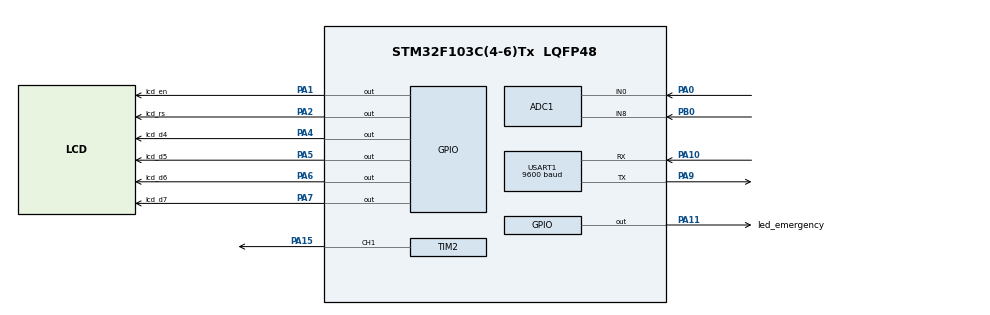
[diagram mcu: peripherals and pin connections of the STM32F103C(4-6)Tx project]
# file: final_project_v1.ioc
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ADC1.Channel-1\#ChannelRegularConversion=ADC_CHANNEL_0
ADC1.ContinuousConvMode=ENABLE
ADC1.NbrOfConversionFlag=1
ADC1.Rank-1\#ChannelRegularConversion=1
ADC1.SamplingTime-1\#ChannelRegularConversion=ADC_SAMPLETIME_1CYCLE_5
ADC1.master=1
Mcu.Family=STM32F1
Mcu.Name=STM32F103C(4-6)Tx
Mcu.Package=LQFP48
NVIC.PriorityGroup=NVIC_PRIORITYGROUP_4
PA0-WKUP.Signal=ADCx_IN0
PA1.GPIO_Label=lcd_en
PA1.Signal=GPIO_Output
PA10.Mode=Asynchronous
PA10.Signal=USART1_RX
PA11.GPIO_Label=led_emergency
PA11.Signal=GPIO_Output
PA13.Mode=Serial_Wire
PA13.Signal=SYS_JTMS-SWDIO
PA14.Mode=Serial_Wire
PA14.Signal=SYS_JTCK-SWCLK
PA15.Signal=S_TIM2_CH1_ETR
PA2.GPIO_Label=lcd_rs
PA2.Signal=GPIO_Output
PA4.GPIO_Label=lcd_d4
PA4.Signal=GPIO_Output
PA5.GPIO_Label=lcd_d5
PA5.Signal=GPIO_Output
PA6.GPIO_Label=lcd_d6
PA6.Signal=GPIO_Output
PA7.GPIO_Label=lcd_d7
PA7.Signal=GPIO_Output
PA9.Mode=Asynchronous
PA9.Signal=USART1_TX
PB0.Signal=ADCx_IN8
PD0-OSC_IN.Mode=HSE-External-Oscillator
PD0-OSC_IN.Signal=RCC_OSC_IN
PD1-OSC_OUT.Mode=HSE-External-Oscillator
PD1-OSC_OUT.Signal=RCC_OSC_OUT
ProjectManager.HeapSize=0x200
ProjectManager.StackSize=0x400
ProjectManager.TargetToolchain=MDK-ARM V5.32
RCC.APB1Freq_Value=8000000
RCC.APB2Freq_Value=8000000
SH.ADCx_IN0.0=ADC1_IN0,IN0
SH.ADCx_IN8.0=ADC1_IN8,IN8
SH.S_TIM2_CH1_ETR.0=TIM2_CH1,PWM Generation1 CH1
TIM2.Channel-PWM\ Generation1\ CH1=TIM_CHANNEL_1
USART1.BaudRate=9600
USART1.VirtualMode=VM_ASYNC
VP_TIM2_VS_ClockSourceINT.Mode=Internal
board=custom

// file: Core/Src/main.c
/* USER CODE BEGIN Header */
/**
  **************************
  * @file           : main.c
  * @brief          : Main program body
  **************************
  * @attention
  *
  * Copyright (c) 2023 STMicroelectronics.
  * All rights reserved.
  *
  * This software is licensed under terms that can be found in the LICENSE file
  * in the root directory of this software component.
  * If no LICENSE file comes with this software, it is provided AS-IS.
  *
  **************************
  */
/* USER CODE END Header */
#include "main.h"

/* USER CODE BEGIN Includes */
#include <stdio.h>
#include <string.h>
#include "LCD.h"
/* USER CODE END Includes */

ADC_HandleTypeDef hadc1;

TIM_HandleTypeDef htim2;

UART_HandleTypeDef huart1;

/* USER CODE BEGIN PV */
#define tres_char "Threshold: 27C "
uint8_t tres_mes[16];

float temperature;

const float threshold = 27.0; // Threshold temperature in Celsius
const float alarm_val = 50.0; // Alarm temperature in Celcuis

/* USER CODE END PV */

void SystemClock_Config(void);
static void MX_GPIO_Init(void);
static void MX_ADC1_Init(void);
static void MX_TIM2_Init(void);
static void MX_USART1_UART_Init(void);
/* USER CODE BEGIN PFP */

float get_temp(uint16_t adc_value);
void print_char(char *string);
void print_float(float value);
void print_newline(void);
/* USER CODE END PFP */

/* USER CODE BEGIN 0 */

void emergency(){ // lcd giden deger

}

// ADC_HandleTypeDef *hadc // NOT USED,  CAN BE REMOVED

void temp_emergency(ADC_HandleTypeDef *hadc){
	memcpy(tres_mes, tres_char, 16);
	HAL_UART_Transmit(&huart1,tres_mes,  16,HAL_MAX_DELAY);

	// Start ADC conversion
  HAL_ADC_Start(&hadc1);
	HAL_ADC_PollForConversion(&hadc1, HAL_MAX_DELAY);

  // Read ADC value
  uint16_t adcValue = HAL_ADC_GetValue(&hadc1);
	// Convert ADC reading to temperature
	temperature = get_temp(adcValue);

  // Update the LCD display
  char tempString[10];
	char lcd_str[30];
	sprintf(tempString, "%.0f C", temperature);
	sprintf(lcd_str, "Temperature: \n");
	lcd_print(1,1, lcd_str);
	lcd_print(2, 1, tempString);

	// Transmit temperature via UART
  char uartString[64];
  sprintf(uartString, "Temperature: %.0f C\r\n", temperature);
  HAL_UART_Transmit(&huart1, (uint8_t *)uartString, strlen(uartString), HAL_MAX_DELAY);

  // Check if temperature exceeds the threshold
  if (temperature > threshold && temperature < alarm_val)
		{
			HAL_UART_Transmit(&huart1, (uint8_t *)"Room temperature is high\r\n", 24, HAL_MAX_DELAY);
      HAL_GPIO_WritePin(GPIOB, led_emergency_Pin, GPIO_PIN_RESET);
		}
		// Check if temperature exceeds the alarm value
		else if (temperature >= alarm_val){
			HAL_UART_Transmit(&huart1, (uint8_t *)"FIRE ALARM!\r\n", 13, HAL_MAX_DELAY);
      HAL_GPIO_WritePin(GPIOB, led_emergency_Pin, GPIO_PIN_SET);
		}
		else{
			HAL_GPIO_WritePin(GPIOB, led_emergency_Pin, GPIO_PIN_RESET);
		}
		HAL_Delay(500); // Delay for 0.5 second between readings
		}

void led_emergency(ADC_HandleTypeDef *hadc, uint16_t AD_RES, uint16_t Vamb){
	HAL_TIM_PWM_Start(&htim2, TIM_CHANNEL_1);
  // Calibrate The ADC On Power-Up For Better Accuracy
  HAL_ADCEx_Calibration_Start(&hadc1);

  // Read The Sensor Once To Get The Ambient Level
  // & Calculate The DutyCycle Multiplier
  HAL_ADC_Start(&hadc1);
  HAL_ADC_PollForConversion(&hadc1, 1);
  Vamb = HAL_ADC_GetValue(&hadc1);
	HAL_ADC_Start(&hadc1);

	if(HAL_ADC_PollForConversion(&hadc1,100)==HAL_OK){
		AD_RES = HAL_ADC_GetValue(&hadc1);
		if(AD_RES>= 0x744){//1.5 volt
			HAL_GPIO_WritePin(GPIOA,led_emergency_Pin,GPIO_PIN_SET);
			HAL_Delay(50);
			HAL_GPIO_WritePin(GPIOA,led_emergency_Pin,GPIO_PIN_RESET);
		}
	}
	HAL_Delay(1);
	HAL_ADC_Stop(&hadc1);
}

/* USER CODE END 0 */

int main(void)
{

  /* MCU Configuration--------------------------------------------------------*/

  /* Reset of all peripherals, Initializes the Flash interface and the Systick. */
  HAL_Init();

  /* Configure the system clock */
  SystemClock_Config();

  /* Initialize all configured peripherals */
  MX_GPIO_Init();
  MX_ADC1_Init();
  MX_TIM2_Init();
  MX_USART1_UART_Init();
  /* USER CODE BEGIN 2 */
	lcd_init(_LCD_4BIT, _LCD_FONT_5x8, _LCD_2LINE); //initialize the LCD

  /* USER CODE END 2 */

  /* Infinite loop */
  /* USER CODE BEGIN WHILE */
  while (1)
  {
	temp_emergency(&hadc1);
    /* USER CODE END WHILE */

  }
}

void SystemClock_Config(void)
{
  RCC_OscInitTypeDef RCC_OscInitStruct = {0};
  RCC_ClkInitTypeDef RCC_ClkInitStruct = {0};
  RCC_PeriphCLKInitTypeDef PeriphClkInit = {0};

  /** Initializes the RCC Oscillators according to the specified parameters
  * in the RCC_OscInitTypeDef structure.
  */
  RCC_OscInitStruct.OscillatorType = RCC_OSCILLATORTYPE_HSI;
  RCC_OscInitStruct.HSIState = RCC_HSI_ON;
  RCC_OscInitStruct.HSICalibrationValue = RCC_HSICALIBRATION_DEFAULT;
  RCC_OscInitStruct.PLL.PLLState = RCC_PLL_NONE;
  if (HAL_RCC_OscConfig(&RCC_OscInitStruct) != HAL_OK)
  {
    Error_Handler();
  }

  /** Initializes the CPU, AHB and APB buses clocks
  */
  RCC_ClkInitStruct.ClockType = RCC_CLOCKTYPE_HCLK|RCC_CLOCKTYPE_SYSCLK
                              |RCC_CLOCKTYPE_PCLK1|RCC_CLOCKTYPE_PCLK2;
  RCC_ClkInitStruct.SYSCLKSource = RCC_SYSCLKSOURCE_HSI;
  RCC_ClkInitStruct.AHBCLKDivider = RCC_SYSCLK_DIV1;
  RCC_ClkInitStruct.APB1CLKDivider = RCC_HCLK_DIV1;
  RCC_ClkInitStruct.APB2CLKDivider = RCC_HCLK_DIV1;

  if (HAL_RCC_ClockConfig(&RCC_ClkInitStruct, FLASH_LATENCY_0) != HAL_OK)
  {
    Error_Handler();
  }
  PeriphClkInit.PeriphClockSelection = RCC_PERIPHCLK_ADC;
  PeriphClkInit.AdcClockSelection = RCC_ADCPCLK2_DIV2;
  if (HAL_RCCEx_PeriphCLKConfig(&PeriphClkInit) != HAL_OK)
  {
    Error_Handler();
  }
}

static void MX_ADC1_Init(void)
{

  ADC_ChannelConfTypeDef sConfig = {0};

  /** Common config
  */
  hadc1.Instance = ADC1;
  hadc1.Init.ScanConvMode = ADC_SCAN_DISABLE;
  hadc1.Init.ContinuousConvMode = ENABLE;
  hadc1.Init.DiscontinuousConvMode = DISABLE;
  hadc1.Init.ExternalTrigConv = ADC_SOFTWARE_START;
  hadc1.Init.DataAlign = ADC_DATAALIGN_RIGHT;
  hadc1.Init.NbrOfConversion = 1;
  if (HAL_ADC_Init(&hadc1) != HAL_OK)
  {
    Error_Handler();
  }

  /** Configure Regular Channel
  */
  sConfig.Channel = ADC_CHANNEL_0;
  sConfig.Rank = ADC_REGULAR_RANK_1;
  sConfig.SamplingTime = ADC_SAMPLETIME_1CYCLE_5;
  if (HAL_ADC_ConfigChannel(&hadc1, &sConfig) != HAL_OK)
  {
    Error_Handler();
  }

}

static void MX_TIM2_Init(void)
{

  TIM_ClockConfigTypeDef sClockSourceConfig = {0};
  TIM_MasterConfigTypeDef sMasterConfig = {0};
  TIM_OC_InitTypeDef sConfigOC = {0};

  htim2.Instance = TIM2;
  htim2.Init.Prescaler = 0;
  htim2.Init.CounterMode = TIM_COUNTERMODE_UP;
  htim2.Init.Period = 65535;
  htim2.Init.ClockDivision = TIM_CLOCKDIVISION_DIV1;
  htim2.Init.AutoReloadPreload = TIM_AUTORELOAD_PRELOAD_DISABLE;
  if (HAL_TIM_Base_Init(&htim2) != HAL_OK)
  {
    Error_Handler();
  }
  sClockSourceConfig.ClockSource = TIM_CLOCKSOURCE_INTERNAL;
  if (HAL_TIM_ConfigClockSource(&htim2, &sClockSourceConfig) != HAL_OK)
  {
    Error_Handler();
  }
  if (HAL_TIM_PWM_Init(&htim2) != HAL_OK)
  {
    Error_Handler();
  }
  sMasterConfig.MasterOutputTrigger = TIM_TRGO_RESET;
  sMasterConfig.MasterSlaveMode = TIM_MASTERSLAVEMODE_DISABLE;
  if (HAL_TIMEx_MasterConfigSynchronization(&htim2, &sMasterConfig) != HAL_OK)
  {
    Error_Handler();
  }
  sConfigOC.OCMode = TIM_OCMODE_PWM1;
  sConfigOC.Pulse = 0;
  sConfigOC.OCPolarity = TIM_OCPOLARITY_HIGH;
  sConfigOC.OCFastMode = TIM_OCFAST_DISABLE;
  if (HAL_TIM_PWM_ConfigChannel(&htim2, &sConfigOC, TIM_CHANNEL_1) != HAL_OK)
  {
    Error_Handler();
  }
  HAL_TIM_MspPostInit(&htim2);

}

static void MX_USART1_UART_Init(void)
{

  huart1.Instance = USART1;
  huart1.Init.BaudRate = 9600;
  huart1.Init.WordLength = UART_WORDLENGTH_8B;
  huart1.Init.StopBits = UART_STOPBITS_1;
  huart1.Init.Parity = UART_PARITY_NONE;
  huart1.Init.Mode = UART_MODE_TX_RX;
  huart1.Init.HwFlowCtl = UART_HWCONTROL_NONE;
  huart1.Init.OverSampling = UART_OVERSAMPLING_16;
  if (HAL_UART_Init(&huart1) != HAL_OK)
  {
    Error_Handler();
  }

}

static void MX_GPIO_Init(void)
{
  GPIO_InitTypeDef GPIO_InitStruct = {0};

  /* GPIO Ports Clock Enable */
  __HAL_RCC_GPIOD_CLK_ENABLE();
  __HAL_RCC_GPIOA_CLK_ENABLE();
  __HAL_RCC_GPIOB_CLK_ENABLE();

  /*Configure GPIO pin Output Level */
  HAL_GPIO_WritePin(GPIOA, lcd_en_Pin|lcd_rs_Pin|lcd_d4_Pin|lcd_d5_Pin
                          |lcd_d6_Pin|lcd_d7_Pin|led_emergency_Pin, GPIO_PIN_RESET);

  /*Configure GPIO pins : lcd_en_Pin lcd_rs_Pin lcd_d4_Pin lcd_d5_Pin
                           lcd_d6_Pin lcd_d7_Pin led_emergency_Pin */
  GPIO_InitStruct.Pin = lcd_en_Pin|lcd_rs_Pin|lcd_d4_Pin|lcd_d5_Pin
                          |lcd_d6_Pin|lcd_d7_Pin|led_emergency_Pin;
  GPIO_InitStruct.Mode = GPIO_MODE_OUTPUT_PP;
  GPIO_InitStruct.Pull = GPIO_NOPULL;
  GPIO_InitStruct.Speed = GPIO_SPEED_FREQ_LOW;
  HAL_GPIO_Init(GPIOA, &GPIO_InitStruct);

}

/* USER CODE BEGIN 4 */

float get_temp(uint16_t ADC_val)
{
	float voltage, temp;

	// Convert ADC reading to voltage
	voltage = (float)ADC_val / 4096 * 3.3;

	// Convert voltage to temperature in Celsius using the transfer function VOUT = 10 mv/?C ? T
	temp = voltage * 100 ;
	return temp;

}

/* USER CODE END 4 */

void Error_Handler(void)
{
  __disable_irq();
  while (1)
  {
  }
}
